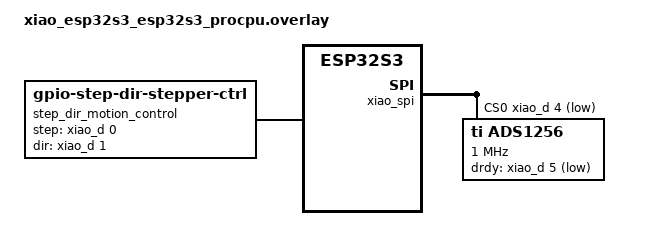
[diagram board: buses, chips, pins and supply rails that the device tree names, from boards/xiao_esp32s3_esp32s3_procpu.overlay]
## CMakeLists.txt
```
# SPDX-License-Identifier: Apache-2.0

cmake_minimum_required(VERSION 3.20.0)

find_package(Zephyr REQUIRED HINTS $ENV{ZEPHYR_BASE})
project(prototype)

target_sources(app PRIVATE src/main.c src/ads1256.c)
target_include_directories(app PRIVATE src)
```

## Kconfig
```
mainmenu "Fiber optic sensing test application"

source "Kconfig.zephyr"
```

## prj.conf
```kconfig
# Misc. configuration
CONFIG_BOOT_BANNER=n

# Hardware configuration
CONFIG_GPIO=y
CONFIG_SPI=y
CONFIG_STEPPER=y
```

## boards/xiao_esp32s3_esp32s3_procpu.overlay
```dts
/*
 * XIAO ESP32-S3 pin usage (see seeed_xiao_connector.dtsi for D-number to GPIO):
 *
 *   D0  A4988 STEP          D8  SCLK  -> ADS1256 SCLK
 *   D1  A4988 DIR           D9  MISO  <- ADS1256 DOUT
 *   D10 MOSI -> ADS1256 DIN  D4  CS   -> ADS1256 CS
 *   D5  DRDY <- ADS1256 DRDY
 *
 * ADS1256 inputs: AIN0 = Vref, AIN1..AIN7 = photodiode amp outputs, AINCOM = GND.
 * Tie ADS1256 RESET and SYNC/PDWN high.
 */

/ {
	aliases {
		stepper-ctrl = &step_dir_motion_control;
	};

	step_dir_motion_control: motion-controller {
		compatible = "zephyr,gpio-step-dir-stepper-ctrl";
		step-gpios = <&xiao_d 0 GPIO_ACTIVE_HIGH>;
		dir-gpios = <&xiao_d 1 GPIO_ACTIVE_HIGH>;
		invert-direction;
	};
};

/* The console is the USB serial port; free D6/D7 (UART0) and D4/D5 (I2C0). */
&uart0 {
	status = "disabled";
};

&i2c0 {
	status = "disabled";
};

&xiao_spi {
	cs-gpios = <&xiao_d 4 GPIO_ACTIVE_LOW>;

	ads1256: ads1256@0 {
		compatible = "ti,ads1256";
		reg = <0>;
		spi-max-frequency = <1000000>; /* SCLK period >= 4 tCLKIN (520 ns) */
		spi-cpha; /* SPI mode 1 */
		drdy-gpios = <&xiao_d 5 GPIO_ACTIVE_LOW>;
		vref-mv = <2500>;
	};
};
```

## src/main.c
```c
/*
 * Photodiode transimpedance amplifier readout
 * XIAO ESP32-S3 + ADS1256 / Zephyr
 *
 *
 *   p               pause / resume CSV streaming
 *   d               debug print (raw readings, for calibrating the photodiodes)
 *   ?               help
 *
 * ADS1256 channels (single-ended vs AINCOM):
 *	AIN0 = Vref, AIN1..AIN3 = Vo1..Vo3 (three photodiode amplifier outputs) OR AIN1..AIN7 = Vo1..Vo7 (seven outputs)
 *
 *
 * Periodic CSV output; all other output lines start with '#' so they are easy
 * to filter out when parsing the CSV.
 */

#include <errno.h>
#include <inttypes.h>
#include <stdatomic.h>
#include <stdbool.h>
#include <stdint.h>

#include <zephyr/device.h>
#include <zephyr/devicetree.h>
#include <zephyr/drivers/stepper/stepper.h>
#include <zephyr/drivers/stepper/stepper_ctrl.h>
#include <zephyr/drivers/uart.h>
#include <zephyr/kernel.h>
#include <zephyr/sys/printk.h>
#include <zephyr/sys/util.h>

#include "ads1256.h"

/* ------------------------------------------------------------------ */
/* Constants                                                          */
/* ------------------------------------------------------------------ */

#define DIV_NUM 25  /* Output voltage divider (10k + 15k) */
#define DIV_DEN 15  /* Output voltage divider top (15k) */
#define R1_OHMS 150000LL /* Feedback resistor */

#define SAMPLE_PERIOD_MS 500 /* "y" Hz = 1000 / this */
#define ADS_DRATE ADS1256_DRATE_60SPS
#define ADS_PGA ADS1256_PGA_1
#define ADS_BUFFER false

#define INPUT_POLL_MS 5

/* ------------------------------------------------------------------ */
/* Stepper                                                            */
/* ------------------------------------------------------------------ */

static const struct device *const stepper_ctrl =
	DEVICE_DT_GET(DT_ALIAS(stepper_ctrl));

static bool streaming = true;

/* ------------------------------------------------------------------ */
/* Command queue (serial input + stepper callback -> main)           */
/* ------------------------------------------------------------------ */

enum cmd {
	CMD_DEBUG,
	CMD_TOGGLE_STREAM
};

struct cmd_msg {
	uint8_t cmd;
	int16_t arg;
};

K_MSGQ_DEFINE(cmd_q, sizeof(struct cmd_msg), 8, 2);

static void post_cmd(enum cmd c, int16_t arg)
{
	struct cmd_msg m = {.cmd = (uint8_t)c, .arg = arg};

	(void)k_msgq_put(&cmd_q, &m, K_NO_WAIT);
}

/* ------------------------------------------------------------------ */
/* Serial input (USB console -> commands)                             */
/* ------------------------------------------------------------------ */

static const struct device *const console_dev =
	DEVICE_DT_GET(DT_CHOSEN(zephyr_console));

static void print_help(void)
{
	printk("# Commands (only accepted while the stepper is idle):\n"
	       "#   p            pause/resume CSV streaming\n"
	       "#   d            debug print\n");
}

static void input_thread(void *a, void *b, void *c)
{
	char num[4];	/* up to 3 digits + NUL */
	size_t n = 0;

	ARG_UNUSED(a);
	ARG_UNUSED(b);
	ARG_UNUSED(c);

	while (1) {
		unsigned char ch;

		if (uart_poll_in(console_dev, &ch) != 0) {
			k_sleep(K_MSEC(INPUT_POLL_MS));
			continue;
		}

		if (ch == '\n' && n == 0) {
			continue; /* second half of a CRLF */
		}

		if (ch >= '0' && ch <= '9') {
			if (n < sizeof(num) - 1) {
				num[n++] = (char)ch;
				printk("%c", ch);
			}
		} else if (ch == 0x08 || ch == 0x7f) {
			if (n > 0) {
				n--;
				printk("\b \b");
			}
		} else if (ch == 'p') {
			n = 0;
			post_cmd(CMD_TOGGLE_STREAM, 0);
		} else if (ch == 'd') {
			n = 0;
			post_cmd(CMD_DEBUG, 0);
		} else if (ch == '?') {
			n = 0;
			print_help();
		} else {
			n = 0; /* unknown key: drop any partial number */
		}
	}
}

K_THREAD_DEFINE(input_tid, 1024, input_thread, NULL, NULL, NULL, 7, 0, 0);

/* ------------------------------------------------------------------ */
/* ADC                                                                */
/* ------------------------------------------------------------------ */

#define VREF_IDX  0
#define NUM_SIG   7	/* photodiode channels */
#define NUM_CH    (1 + NUM_SIG)	/* Vref + signals; channel i is AINi */

static const struct ads1256 adc =
	ADS1256_DT_GET(DT_NODELABEL(ads1256), ADS_PGA, ADS_BUFFER);

struct measurement {
	int32_t raw[NUM_CH];
	int32_t uv[NUM_CH];
	int64_t i_pa[NUM_SIG];	/* photodiode currents in picoamps */
};

static int measure(struct measurement *m)
{
	for (size_t i = 0; i < NUM_CH; i++) {
		int err = ads1256_read_raw(&adc, (uint8_t)i, &m->raw[i]);

		if (err < 0) {
			printk("# ERROR adc read AIN%d (%d)\n", (int)i, err);
			return err;
		}
		m->uv[i] = ads1256_raw_to_uv(&adc, m->raw[i]);
	}

	for (size_t s = 0; s < NUM_SIG; s++) {
		/* uV / ohm = uA = 1e6 pA */
		int64_t vo_amp_uv = (int64_t)m->uv[1 + s] * DIV_NUM / DIV_DEN;

		m->i_pa[s] = ((vo_amp_uv - m->uv[VREF_IDX]) * 1000000LL) / R1_OHMS;
	}

	return 0;
}

/* ------------------------------------------------------------------ */

static void print_csv_header(void)
{
	printk("t_ms,vref_uv");
	for (int i = 1; i <= NUM_SIG; i++) {
		printk(",vo%d_uv", i);
	}
	for (int i = 1; i <= NUM_SIG; i++) {
		printk(",i%d_pa", i);
	}
}

static void print_csv(int64_t t_ms, const struct measurement *m)
{
	int32_t pos = 0;

	(void)stepper_ctrl_get_actual_position(stepper_ctrl, &pos);

	printk("%" PRId64 ",%" PRId32, t_ms, m->uv[VREF_IDX]);
	for (size_t i = 1; i < NUM_CH; i++) {
		printk(",%" PRId32, m->uv[i]);
	}
	for (size_t s = 0; s < NUM_SIG; s++) {
		printk(",%" PRId64, m->i_pa[s]);
	}
}

static void print_debug(const struct measurement *m)
{
	int32_t pos = 0;

	(void)stepper_ctrl_get_actual_position(stepper_ctrl, &pos);

	printk("# DEBUG Vref: raw=%d  %d uV\n", (int)m->raw[VREF_IDX],
	       (int)m->uv[VREF_IDX]);
	for (size_t s = 0; s < NUM_SIG; s++) {
		printk("# DEBUG Vo%d: raw=%d  %d uV | Vo-Vref=%d uV | "
		       "I=%" PRId64 " pA\n",
		       (int)(s + 1), (int)m->raw[1 + s], (int)m->uv[1 + s],
		       (int)(m->uv[1 + s] - m->uv[VREF_IDX]), m->i_pa[s]);
	}
}

/* ------------------------------------------------------------------ */
/* Main                                                               */
/* ------------------------------------------------------------------ */

static void handle_debug(void)
{
	struct measurement m;

	if (measure(&m) == 0) {
		print_debug(&m);
	}
}

static void handle_cmd(const struct cmd_msg *msg)
{
	switch (msg->cmd) {
	case CMD_DEBUG:
		handle_debug();
		break;
	case CMD_TOGGLE_STREAM:
		streaming = !streaming;
		if (streaming) {
			print_csv_header();
		} else {
			printk("# Streaming stopped\n");
		}
		break;
	}
}

int main(void)
{
	int err;

	if (!device_is_ready(console_dev)) {
		return 0;
	}

	err = ads1256_init(&adc, ADS_DRATE);
	if (err < 0) {
		printk("# ERROR ADS1256 init (%d)\n", err);
		return 0;
	}

	print_help();
	print_csv_header();

	int64_t next_ms = k_uptime_get();

	while (1) {
		struct cmd_msg msg;

		/* Waiting for a command doubles as the sampling timer: if no
		 * command arrives before next_ms, we take a sample. Stepper
		 * moves are non-blocking, so sampling continues during motion. */
		if (k_msgq_get(&cmd_q, &msg, K_TIMEOUT_ABS_MS(next_ms)) == 0) {
			handle_cmd(&msg);
			continue;
		}

		if (streaming) {
			struct measurement m;
			int64_t now = k_uptime_get();

			if (measure(&m) == 0) {
				print_csv(now, &m);
			}
		}

		next_ms += SAMPLE_PERIOD_MS;
		if (next_ms < k_uptime_get()) {
			next_ms = k_uptime_get() + SAMPLE_PERIOD_MS;
		}
	}

	return 0;
}
```

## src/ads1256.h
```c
/*
 * Minimal polled driver for the TI ADS1256 24-bit delta-sigma ADC.
 * Single-ended reads against AINCOM, one channel at a time.
 */

#ifndef ADS1256_H_
#define ADS1256_H_

#include <stdint.h>

#include <zephyr/drivers/gpio.h>
#include <zephyr/drivers/spi.h>

/* PGA gain settings (ADCON[2:0]) */
enum ads1256_pga {
	ADS1256_PGA_1,
	ADS1256_PGA_2,
	ADS1256_PGA_4,
	ADS1256_PGA_8,
	ADS1256_PGA_16,
	ADS1256_PGA_32,
	ADS1256_PGA_64,
};

/* Data rates (DRATE register values, fCLKIN = 7.68 MHz) */
enum ads1256_drate {
	ADS1256_DRATE_2_5SPS = 0x03,
	ADS1256_DRATE_5SPS = 0x13,
	ADS1256_DRATE_10SPS = 0x23,
	ADS1256_DRATE_15SPS = 0x33,
	ADS1256_DRATE_25SPS = 0x43,
	ADS1256_DRATE_30SPS = 0x53,
	ADS1256_DRATE_50SPS = 0x63,
	ADS1256_DRATE_60SPS = 0x72,
	ADS1256_DRATE_100SPS = 0x82,
	ADS1256_DRATE_500SPS = 0x92,
	ADS1256_DRATE_1000SPS = 0xA1,
	ADS1256_DRATE_2000SPS = 0xB0,
};

#define ADS1256_AINCOM 8

struct ads1256 {
	struct spi_dt_spec spi;
	struct gpio_dt_spec drdy;
	uint32_t vref_mv;
	enum ads1256_pga pga;
	bool buffer;
};

#define ADS1256_DT_GET(node_id, _pga, _buffer)                                   \
	{                                                                        \
		.spi = SPI_DT_SPEC_GET(node_id, SPI_WORD_SET(8) | SPI_TRANSFER_MSB), \
		.drdy = GPIO_DT_SPEC_GET(node_id, drdy_gpios),                   \
		.vref_mv = DT_PROP(node_id, vref_mv),                            \
		.pga = (_pga),                                                   \
		.buffer = (_buffer),                                             \
	}

/** Reset, configure, self-calibrate and verify the ADC. */
int ads1256_init(const struct ads1256 *adc, enum ads1256_drate drate);

/** One settled single-ended conversion of AINx vs AINCOM (signed 24-bit code). */
int ads1256_read_raw(const struct ads1256 *adc, uint8_t ain, int32_t *raw);

/** One settled conversion with an arbitrary MUX register value (AINP << 4 | AINN). */
int ads1256_read_mux(const struct ads1256 *adc, uint8_t mux, int32_t *raw);

/** Convert a raw code to microvolts at the ADC input pin. */
int32_t ads1256_raw_to_uv(const struct ads1256 *adc, int32_t raw);

#endif /* ADS1256_H_ */
```
